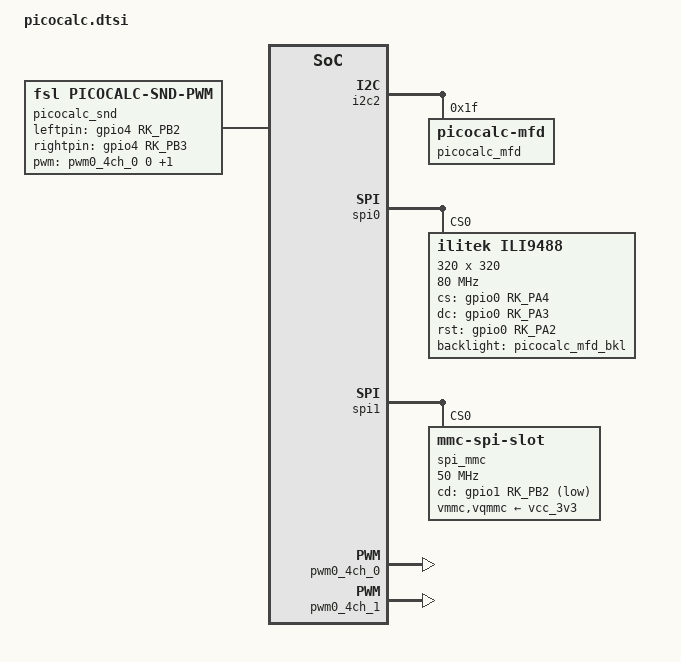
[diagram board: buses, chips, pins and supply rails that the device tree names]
// SPDX-License-Identifier: (GPL-2.0+ OR MIT)
/*
 * PicoCalc hardware device tree definitions
 * for Luckfox Lyra board
 */

#include <dt-bindings/pinctrl/rockchip.h>

&i2c2{
	status = "okay";
	pinctrl-names = "default";
	pinctrl-0 = <&rm_io10_i2c2_scl &rm_io11_i2c2_sda>;
	max-frequency = <400000>;

	picocalc_mfd: picocalc-mfd@1f {
		status = "okay";
		compatible = "picocalc-mfd","picocalc-kbd";
		reg = <0x1F>;
		poweroff = <0x0E>;

		picocalc_mfd_kbd: picocalc-mfd-kbd@04 {
			compatible = "picocalc-mfd-kbd";
			reg = <0x04>;
			fifo = <0x09>;
		};

		picocalc_mfd_bms: picocalc-mfd-bms@0b {
			compatible = "picocalc-mfd-bms";
			reg = <0x0B>;
		};

		picocalc_mfd_bkl: picocalc-mfd-bkl@05 {
			compatible = "picocalc-mfd-bkl";
			reg = <0x05>;
			default-brightness = <128>;
			max-brightness = <255>;
		};

		picocalc_mfd_led: picocalc-mfd-led@0a {
			compatible = "picocalc-mfd-led";
			linux,default-trigger = "backlight";
			reg = <0x0A>;
			label = "picocalc_mfd_led:kbd_backlight";
		};
	};
};

&spi0 {
	status = "okay";
	pinctrl-names = "default";
	pinctrl-0 = <&rm_io7_spi0_clk &rm_io6_spi0_mosi &rm_io5_spi0_miso>;

	ili9488: ili9488@0 {
		status = "okay";
		compatible = "ilitek,ili9488";
		spi-max-frequency = <80000000>;
		/* spi-max-frequency = <24000000>; */
		/* spi-max-frequency = <10000000>; */
		reg = <0>;
		pinctrl-names = "default";
		pinctrl-0 = <&ili9488_pins>;
		fps = <30>;
		width = <320>;
		height = <320>;
		cs = <&gpio0 RK_PA4 GPIO_ACTIVE_HIGH>;
		dc = <&gpio0 RK_PA3 GPIO_ACTIVE_HIGH>;
		rst = <&gpio0 RK_PA2 GPIO_ACTIVE_HIGH>;
		backlight = <&picocalc_mfd_bkl>;
	};
};

&spi1 {
	status = "okay";
	pinctrl-names = "default";
	pinctrl-0 = <&rm_io29_spi1_clk &rm_io28_spi1_mosi &rm_io31_spi1_miso &rm_io30_spi1_csn0>;

	spi_mmc: mmc@0 {
		compatible = "mmc-spi-slot";
		reg = <0>;  // Chip Select 0
		spi-max-frequency = <50000000>;
		cd-gpios = <&gpio1 RK_PB2 GPIO_ACTIVE_LOW>;
		disable-wp;
		no-sdio;
		voltage-ranges = <3300 3300>;
		vmmc-supply = <&vcc_3v3>;
		vqmmc-supply = <&vcc_3v3>;
		no-1-8-v;
	};
};

/ {
	picocalc_snd {
		status = "okay";
		compatible = "fsl,picocalc-snd-pwm";
		pinctrl-names = "default";
		pinctrl-0 = <&snd_pins>;
		leftpin = <&gpio4 RK_PB2 GPIO_ACTIVE_HIGH>;
		rightpin = <&gpio4 RK_PB3 GPIO_ACTIVE_HIGH>;
		pwm-names = "pwm-snd-left", "pwm-snd-right";
		pwms = <&pwm0_4ch_0 0 25000 0>, <&pwm0_4ch_1 0 25000 0>;
	};
};

&pwm0_4ch_0 {
	pinctrl-names = "active";
	pinctrl-0 = <&rm_io12_pwm0_ch0>;
	status = "okay";
	assigned-clocks = <&cru CLK_PWM0>;
	assigned-clock-rates = <100000000>;
};

&pwm0_4ch_1 {
	pinctrl-names = "active";
	pinctrl-0 = <&rm_io13_pwm0_ch1>;
	status = "okay";
	assigned-clocks = <&cru CLK_PWM0>;
	assigned-clock-rates = <100000000>;
};

&pinctrl {
	ili9488 {
		ili9488_pins: ili9488-pins {
			rockchip,pins =
				<0 RK_PA4 RK_FUNC_GPIO &pcfg_pull_none>,
				<0 RK_PA3 RK_FUNC_GPIO &pcfg_pull_none>,
				<0 RK_PA2 RK_FUNC_GPIO &pcfg_pull_none>;
		};
	};

	picocalc_snd {
		snd_pins: snd-pins {
			rockchip,pins =
				<4 RK_PB2 RK_FUNC_GPIO &pcfg_pull_none>,
				<4 RK_PB3 RK_FUNC_GPIO &pcfg_pull_none>;
		};
	};
};
